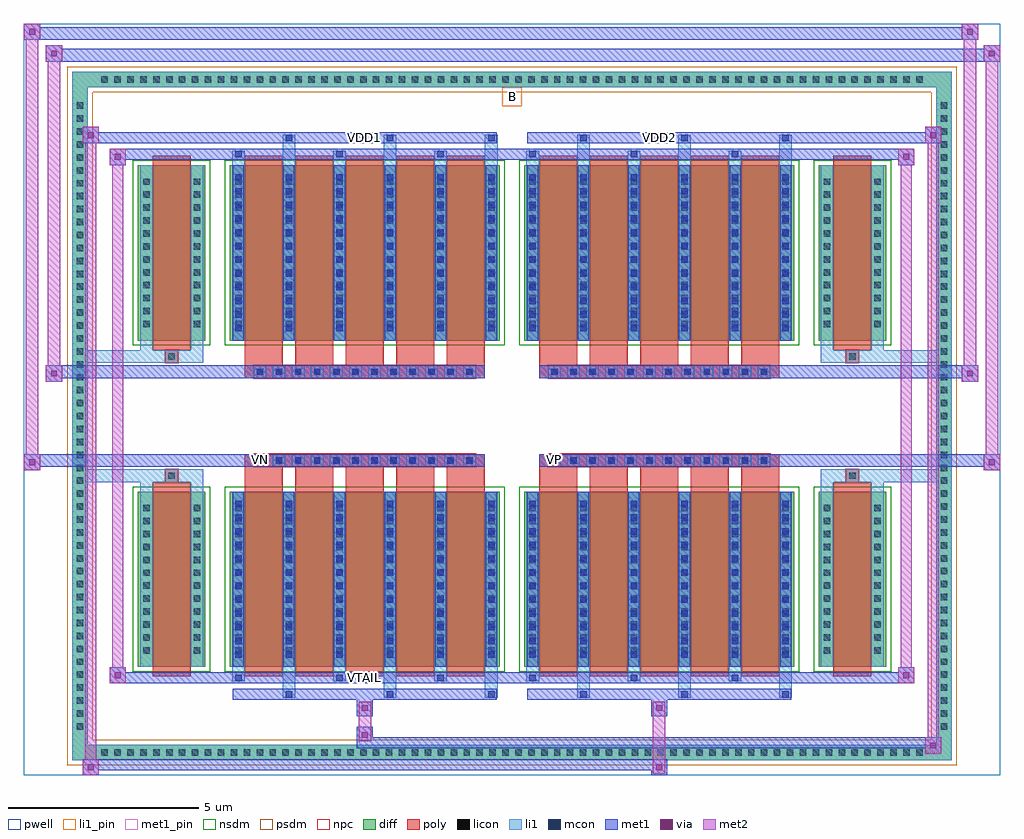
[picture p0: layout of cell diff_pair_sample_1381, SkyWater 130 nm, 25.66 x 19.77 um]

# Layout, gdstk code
import gdstk
lib = gdstk.Library(unit=1e-6, precision=5e-09)
def R(c, l, rs):  # rectangles x0, y0, x1, y1
    for r in rs: c.add(gdstk.rectangle(r[:2], r[2:], *l))
def A(c, l, x, y, w, h, nx, ny, dx, dy):  # array of equal rectangles
    R(c, l, [(x+i*dx, y+j*dy, x+i*dx+w, y+j*dy+h) for i in range(nx) for j in range(ny)])
def P(c, l, *ps):  # polygons
    for p in ps: c.add(gdstk.Polygon(p, *l))
pwell = (64, 44)
diff = (65, 20)
poly = (66, 20)
licon = (66, 44)
li1_pin = (67, 16)
li1 = (67, 20)
mcon = (67, 44)
met1_pin = (68, 16)
met1 = (68, 20)
via = (68, 44)
met2 = (69, 20)
nsdm = (93, 44)
psdm = (94, 20)
npc = (95, 20)

diff_pair_sample_1381 = lib.new_cell('diff_pair_sample_1381')
R(diff_pair_sample_1381, pwell, [(-12.83,-9.45,12.83,10.32), (-10.15,-7.64,-0.01,-0.8), (0.01,-7.64,10.15,-0.8), (-10.15,0.8,-0.01,7.64), (0.01,0.8,10.15,7.64)])
A(diff_pair_sample_1381, diff, -10.915, -9.05, 0.41, 0.41, 64, 2, 0.34, 17.69)
A(diff_pair_sample_1381, diff, -11.56, -8.365, 0.41, 0.41, 1, 49, 0, 0.34)
A(diff_pair_sample_1381, diff, 11.15, -8.365, 0.41, 0.41, 1, 49, 0, 0.34)
R(diff_pair_sample_1381, diff, [(-10.915,-9.05,10.915,-8.64), (-11.56,-8.365,-11.15,8.365), (11.15,-8.365,11.56,8.365), (-9.84,-6.595,-8.06,-1.985), (-7.42,-6.595,-0.32,-1.985), (0.32,-6.595,7.42,-1.985), (8.06,-6.595,9.84,-1.985), (-9.84,1.985,-8.06,6.595), (-7.42,1.985,-0.32,6.595), (0.32,1.985,7.42,6.595), (8.06,1.985,9.84,6.595), (-10.915,8.64,10.915,9.05)])
P(diff_pair_sample_1381, diff, [(11.56,9.05),(-11.56,9.05),(-11.56,-8.64),(-11.15,-8.64),(-11.15,8.64),(11.15,8.64),(11.15,-8.64),(-11.15,-8.64),(-11.56,-8.64),(-11.56,-9.05),(11.56,-9.05)])
A(diff_pair_sample_1381, poly, -7.03, -6.845, 1, 5.11, 5, 2, 1.33, 8.58)
A(diff_pair_sample_1381, poly, 0.71, -6.845, 1, 5.11, 5, 2, 1.33, 8.58)
A(diff_pair_sample_1381, poly, -7.03, -1.735, 1, 0.405, 5, 2, 1.33, 3.065)
A(diff_pair_sample_1381, poly, 0.71, -1.735, 1, 0.405, 5, 2, 1.33, 3.065)
A(diff_pair_sample_1381, poly, -6.785, -1.33, 0.33, 0.33, 12, 2, 0.5, 2.33)
A(diff_pair_sample_1381, poly, 0.955, -1.33, 0.33, 0.33, 12, 2, 0.5, 2.33)
R(diff_pair_sample_1381, poly, [(-9.45,-6.845,-8.45,-1.735), (8.45,-6.845,9.45,-1.735), (-9.115,-1.735,-8.785,-1.405), (-9.115,-1.735,-8.785,-1.405), (8.785,-1.735,9.115,-1.405), (8.785,-1.735,9.115,-1.405), (-7.03,-1.33,-0.71,-1), (0.71,-1.33,7.03,-1), (-7.03,1,-0.71,1.33), (0.71,1,7.03,1.33), (-9.115,1.405,-8.785,1.735), (-9.115,1.405,-8.785,1.735), (8.785,1.405,9.115,1.735), (8.785,1.405,9.115,1.735), (-9.45,1.735,-8.45,6.845), (8.45,1.735,9.45,6.845)])
A(diff_pair_sample_1381, licon, -10.795, -8.93, 0.17, 0.17, 64, 2, 0.34, 17.69)
A(diff_pair_sample_1381, licon, -11.44, -8.245, 0.17, 0.17, 1, 49, 0, 0.34)
A(diff_pair_sample_1381, licon, 11.27, -8.245, 0.17, 0.17, 1, 49, 0, 0.34)
A(diff_pair_sample_1381, licon, -9.7, -6.245, 0.17, 0.17, 1, 12, 0, 0.34)
A(diff_pair_sample_1381, licon, -8.37, -6.245, 0.17, 0.17, 1, 12, 0, 0.34)
A(diff_pair_sample_1381, licon, -7.28, -6.245, 0.17, 0.17, 6, 12, 1.33, 0.34)
A(diff_pair_sample_1381, licon, 0.46, -6.245, 0.17, 0.17, 6, 12, 1.33, 0.34)
A(diff_pair_sample_1381, licon, 8.2, -6.245, 0.17, 0.17, 1, 12, 0, 0.34)
A(diff_pair_sample_1381, licon, 9.53, -6.245, 0.17, 0.17, 1, 12, 0, 0.34)
A(diff_pair_sample_1381, licon, -6.705, -1.25, 0.17, 0.17, 12, 2, 0.5, 2.33)
A(diff_pair_sample_1381, licon, 1.035, -1.25, 0.17, 0.17, 12, 2, 0.5, 2.33)
A(diff_pair_sample_1381, licon, -9.7, 2.335, 0.17, 0.17, 1, 12, 0, 0.34)
A(diff_pair_sample_1381, licon, -8.37, 2.335, 0.17, 0.17, 1, 12, 0, 0.34)
A(diff_pair_sample_1381, licon, -7.28, 2.335, 0.17, 0.17, 6, 12, 1.33, 0.34)
A(diff_pair_sample_1381, licon, 0.46, 2.335, 0.17, 0.17, 6, 12, 1.33, 0.34)
A(diff_pair_sample_1381, licon, 8.2, 2.335, 0.17, 0.17, 1, 12, 0, 0.34)
A(diff_pair_sample_1381, licon, 9.53, 2.335, 0.17, 0.17, 1, 12, 0, 0.34)
R(diff_pair_sample_1381, licon, [(-9.035,-1.655,-8.865,-1.485), (8.865,-1.655,9.035,-1.485), (-9.035,1.485,-8.865,1.655), (8.865,1.485,9.035,1.655)])
R(diff_pair_sample_1381, li1_pin, [(-0.25,8.14,0.25,8.64)])
A(diff_pair_sample_1381, li1, -10.875, -9.01, 0.33, 0.33, 64, 2, 0.34, 17.69)
A(diff_pair_sample_1381, li1, -11.52, -8.325, 0.33, 0.33, 1, 49, 0, 0.34)
A(diff_pair_sample_1381, li1, 11.19, -8.325, 0.33, 0.33, 1, 49, 0, 0.34)
A(diff_pair_sample_1381, li1, -6.03, -7.4, 0.33, 0.805, 3, 2, 2.66, 13.995)
A(diff_pair_sample_1381, li1, -5.95, -7.4, 0.17, 0.17, 3, 2, 2.66, 14.63)
A(diff_pair_sample_1381, li1, 1.71, -7.4, 0.33, 0.805, 3, 2, 2.66, 13.995)
A(diff_pair_sample_1381, li1, 1.79, -7.4, 0.17, 0.17, 3, 2, 2.66, 14.63)
A(diff_pair_sample_1381, li1, -7.36, -6.97, 0.33, 0.375, 3, 2, 2.66, 13.565)
A(diff_pair_sample_1381, li1, -7.28, -6.97, 0.17, 0.17, 3, 2, 2.66, 13.77)
A(diff_pair_sample_1381, li1, 0.38, -6.97, 0.33, 0.375, 3, 2, 2.66, 13.565)
A(diff_pair_sample_1381, li1, 0.46, -6.97, 0.17, 0.17, 3, 2, 2.66, 13.77)
A(diff_pair_sample_1381, li1, -7.36, -6.595, 0.33, 4.61, 6, 2, 1.33, 8.58)
A(diff_pair_sample_1381, li1, 0.38, -6.595, 0.33, 4.61, 6, 2, 1.33, 8.58)
A(diff_pair_sample_1381, li1, -7.28, -6.355, 0.17, 0.17, 6, 12, 1.33, 0.36)
A(diff_pair_sample_1381, li1, -7.28, -6.355, 0.17, 4.13, 6, 2, 1.33, 8.58)
A(diff_pair_sample_1381, li1, 0.46, -6.355, 0.17, 0.17, 6, 12, 1.33, 0.36)
A(diff_pair_sample_1381, li1, 0.46, -6.355, 0.17, 4.13, 6, 2, 1.33, 8.58)
A(diff_pair_sample_1381, li1, -9.78, -6.325, 0.33, 0.33, 1, 12, 0, 0.34)
A(diff_pair_sample_1381, li1, -8.45, -6.325, 0.33, 0.33, 1, 12, 0, 0.34)
A(diff_pair_sample_1381, li1, -7.36, -6.325, 0.33, 0.33, 6, 12, 1.33, 0.34)
A(diff_pair_sample_1381, li1, 0.38, -6.325, 0.33, 0.33, 6, 12, 1.33, 0.34)
A(diff_pair_sample_1381, li1, 8.12, -6.325, 0.33, 0.33, 1, 12, 0, 0.34)
A(diff_pair_sample_1381, li1, 9.45, -6.325, 0.33, 0.33, 1, 12, 0, 0.34)
A(diff_pair_sample_1381, li1, -6.785, -1.33, 0.33, 0.33, 12, 2, 0.5, 2.33)
A(diff_pair_sample_1381, li1, 0.955, -1.33, 0.33, 0.33, 12, 2, 0.5, 2.33)
A(diff_pair_sample_1381, li1, -7.28, 2.225, 0.17, 0.17, 6, 12, 1.33, 0.36)
A(diff_pair_sample_1381, li1, 0.46, 2.225, 0.17, 0.17, 6, 12, 1.33, 0.36)
A(diff_pair_sample_1381, li1, -9.78, 2.255, 0.33, 0.33, 1, 12, 0, 0.34)
A(diff_pair_sample_1381, li1, -8.45, 2.255, 0.33, 0.33, 1, 12, 0, 0.34)
A(diff_pair_sample_1381, li1, -7.36, 2.255, 0.33, 0.33, 6, 12, 1.33, 0.34)
A(diff_pair_sample_1381, li1, 0.38, 2.255, 0.33, 0.33, 6, 12, 1.33, 0.34)
A(diff_pair_sample_1381, li1, 8.12, 2.255, 0.33, 0.33, 1, 12, 0, 0.34)
A(diff_pair_sample_1381, li1, 9.45, 2.255, 0.33, 0.33, 1, 12, 0, 0.34)
R(diff_pair_sample_1381, li1, [(-11.56,-9.05,-11.15,-8.64), (-11.56,-9.05,-11.15,-8.64), (-11.15,-9.05,11.15,-8.64), (11.15,-9.05,11.56,-8.64), (11.15,-9.05,11.56,-8.64), (-11.56,-8.64,-11.15,8.64), (11.15,-8.64,11.56,8.64), (-9.78,-6.595,-9.45,-1.985), (-8.45,-6.595,-8.12,-1.985), (8.12,-6.595,8.45,-1.985), (9.45,-6.595,9.78,-1.985), (-9.78,-1.985,-9.45,-1.405), (-8.45,-1.985,-8.12,-1.405), (8.12,-1.985,8.45,-1.405), (9.45,-1.985,9.78,-1.405), (-11.56,-1.735,-9.115,-1.405), (-9.78,-1.735,-9.115,-1.405), (-9.115,-1.735,-8.785,-1.405), (-8.785,-1.735,-8.12,-1.405), (8.12,-1.735,8.785,-1.405), (8.785,-1.735,9.115,-1.405), (8.785,-1.735,11.56,-1.405), (9.115,-1.735,9.78,-1.405), (-11.56,1.405,-9.115,1.735), (-9.78,1.405,-9.115,1.735), (-9.78,1.405,-9.45,1.985), (-9.115,1.405,-8.785,1.735), (-8.785,1.405,-8.12,1.735), (-8.45,1.405,-8.12,1.985), (8.12,1.405,8.785,1.735), (8.12,1.405,8.45,1.985), (8.785,1.405,9.115,1.735), (8.785,1.405,11.56,1.735), (9.115,1.405,9.78,1.735), (9.45,1.405,9.78,1.985), (-9.78,1.985,-9.45,6.595), (-8.45,1.985,-8.12,6.595), (8.12,1.985,8.45,6.595), (9.45,1.985,9.78,6.595), (-11.56,8.64,-11.15,9.05), (-11.56,8.64,-11.15,9.05), (-11.15,8.64,11.15,9.05), (11.15,8.64,11.56,9.05), (11.15,8.64,11.56,9.05)])
A(diff_pair_sample_1381, mcon, -5.95, -7.4, 0.17, 0.17, 3, 2, 2.66, 14.63)
A(diff_pair_sample_1381, mcon, 1.79, -7.4, 0.17, 0.17, 3, 2, 2.66, 14.63)
A(diff_pair_sample_1381, mcon, -7.28, -6.97, 0.17, 0.17, 3, 2, 2.66, 13.77)
A(diff_pair_sample_1381, mcon, 0.46, -6.97, 0.17, 0.17, 3, 2, 2.66, 13.77)
A(diff_pair_sample_1381, mcon, -7.28, -6.355, 0.17, 0.17, 6, 12, 1.33, 0.36)
A(diff_pair_sample_1381, mcon, 0.46, -6.355, 0.17, 0.17, 6, 12, 1.33, 0.36)
A(diff_pair_sample_1381, mcon, -6.705, -1.25, 0.17, 0.17, 12, 2, 0.5, 2.33)
A(diff_pair_sample_1381, mcon, 1.035, -1.25, 0.17, 0.17, 12, 2, 0.5, 2.33)
A(diff_pair_sample_1381, mcon, -7.28, 2.225, 0.17, 0.17, 6, 12, 1.33, 0.36)
A(diff_pair_sample_1381, mcon, 0.46, 2.225, 0.17, 0.17, 6, 12, 1.33, 0.36)
R(diff_pair_sample_1381, met1_pin, [(-4.005,-7.01,-3.735,-6.74), (-6.755,-1.29,-6.485,-1.02), (0.985,-1.29,1.255,-1.02), (-4.005,7.19,-3.735,7.46), (3.735,7.19,4.005,7.46)])
A(diff_pair_sample_1381, met1, -6.01, -7.46, 0.29, 0.29, 3, 2, 2.66, 14.63)
A(diff_pair_sample_1381, met1, 1.73, -7.46, 0.29, 0.29, 3, 2, 2.66, 14.63)
A(diff_pair_sample_1381, met1, -7.34, -7.03, 0.29, 0.29, 3, 2, 2.66, 13.77)
A(diff_pair_sample_1381, met1, 0.4, -7.03, 0.29, 0.29, 3, 2, 2.66, 13.77)
A(diff_pair_sample_1381, met1, -7.34, -6.595, 0.29, 4.61, 6, 2, 1.33, 8.58)
A(diff_pair_sample_1381, met1, 0.4, -6.595, 0.29, 4.61, 6, 2, 1.33, 8.58)
A(diff_pair_sample_1381, met1, -7.34, -6.415, 0.29, 0.29, 6, 12, 1.33, 0.36)
A(diff_pair_sample_1381, met1, 0.4, -6.415, 0.29, 0.29, 6, 12, 1.33, 0.36)
A(diff_pair_sample_1381, met1, -6.765, -1.31, 0.29, 0.29, 12, 2, 0.5, 2.33)
A(diff_pair_sample_1381, met1, 0.975, -1.31, 0.29, 0.29, 12, 2, 0.5, 2.33)
A(diff_pair_sample_1381, met1, -7.34, 2.165, 0.29, 0.29, 6, 12, 1.33, 0.36)
A(diff_pair_sample_1381, met1, 0.4, 2.165, 0.29, 0.29, 6, 12, 1.33, 0.36)
R(diff_pair_sample_1381, met1, [(-11.29,-9.45,-10.86,-9.02), (3.655,-9.45,4.085,-9.02), (-11.29,-9.31,4.085,-9.02), (10.86,-8.88,11.29,-8.45), (-4.085,-8.74,11.29,-8.45), (-4.085,-8.6,-3.655,-8.17), (-4.085,-7.89,-3.655,-7.46), (3.655,-7.89,4.085,-7.46), (-7.34,-7.46,-0.4,-7.17), (0.4,-7.46,7.34,-7.17), (-10.58,-7.03,-10.15,-6.6), (-10.58,-7.03,-7.34,-6.74), (-7.34,-7.03,-0.4,-6.74), (-0.4,-7.03,0.4,-6.74), (0.4,-7.03,7.34,-6.74), (7.34,-7.03,10.58,-6.74), (10.15,-7.03,10.58,-6.6), (-12.83,-1.43,-12.4,-1), (12.4,-1.43,12.83,-1), (-12.83,-1.33,-0.71,-1), (-7.03,-1.33,-0.71,-1), (0.71,-1.33,7.03,-1), (0.71,-1.33,12.83,-1), (-12.26,0.9,-11.83,1.33), (11.83,0.9,12.26,1.33), (-12.26,1,-7.03,1.33), (-7.03,1,-0.71,1.33), (0.71,1,7.03,1.33), (7.03,1,12.26,1.33), (-10.58,6.6,-10.15,7.03), (10.15,6.6,10.58,7.03), (-10.58,6.74,-7.34,7.03), (-7.34,6.74,-0.4,7.03), (-0.4,6.74,0.4,7.03), (0.4,6.74,7.34,7.03), (7.34,6.74,10.58,7.03), (-11.29,7.17,-10.86,7.6), (-11.29,7.17,-7.34,7.46), (-7.34,7.17,-0.4,7.46), (0.4,7.17,7.34,7.46), (7.34,7.17,11.29,7.46), (10.86,7.17,11.29,7.6), (-12.26,9.32,-11.83,9.75), (-12.26,9.32,-10.15,9.65), (-10.15,9.32,10.15,9.65), (10.15,9.32,12.83,9.65), (12.4,9.32,12.83,9.75), (-12.83,9.89,-12.4,10.32), (-12.83,9.89,-10.15,10.22), (-10.15,9.89,10.15,10.22), (10.15,9.89,12.26,10.22), (11.83,9.89,12.26,10.32)])
R(diff_pair_sample_1381, via, [(-11.15,-9.31,-11,-9.16), (3.795,-9.31,3.945,-9.16), (11,-8.74,11.15,-8.59), (-3.945,-8.46,-3.795,-8.31), (-3.945,-7.75,-3.795,-7.6), (3.795,-7.75,3.945,-7.6), (-10.44,-6.89,-10.29,-6.74), (10.29,-6.89,10.44,-6.74), (-12.69,-1.29,-12.54,-1.14), (12.54,-1.29,12.69,-1.14), (-12.12,1.04,-11.97,1.19), (11.97,1.04,12.12,1.19), (-10.44,6.74,-10.29,6.89), (10.29,6.74,10.44,6.89), (-11.15,7.31,-11,7.46), (11,7.31,11.15,7.46), (-12.12,9.46,-11.97,9.61), (12.54,9.46,12.69,9.61), (-12.69,10.03,-12.54,10.18), (11.97,10.03,12.12,10.18)])
R(diff_pair_sample_1381, met2, [(-11.29,-9.45,-10.86,-9.02), (-11.22,-9.45,-10.93,7.6), (-10.93,-9.45,-10.86,-9.02), (-11.24,-9.4,-10.91,-9.07), (3.705,-9.4,4.035,-9.07), (3.705,-9.07,4.035,-7.84), (10.86,-8.88,11.29,-8.45), (10.93,-8.88,11.22,7.6), (11.22,-8.88,11.29,-8.45), (10.91,-8.83,11.24,-8.5), (-4.035,-8.55,-3.705,-8.22), (-4.035,-8.22,-3.705,-7.84), (-4.035,-7.84,-3.705,-7.51), (3.705,-7.84,4.035,-7.51), (-10.58,-7.03,-10.15,-6.6), (-10.51,-7.03,-10.22,7.03), (-10.22,-7.03,-10.15,-6.6), (10.15,-7.03,10.58,-6.6), (10.22,-7.03,10.51,7.03), (10.51,-7.03,10.58,-6.6), (-10.53,-6.98,-10.2,-6.65), (10.2,-6.98,10.53,-6.65), (-12.83,-1.43,-12.4,-1), (-12.78,-1.43,-12.45,10.32), (-12.45,-1.43,-12.4,-1), (12.4,-1.43,12.83,-1), (12.45,-1.43,12.78,9.75), (12.78,-1.43,12.83,-1), (-12.78,-1.38,-12.45,-1.05), (12.45,-1.38,12.78,-1.05), (-12.26,0.9,-11.83,1.33), (-12.21,0.9,-11.88,9.75), (-11.88,0.9,-11.83,1.33), (11.83,0.9,12.26,1.33), (11.88,0.9,12.21,10.32), (12.21,0.9,12.26,1.33), (-12.21,0.95,-11.88,1.28), (11.88,0.95,12.21,1.28), (-10.58,6.6,-10.15,7.03), (-10.22,6.6,-10.15,7.03), (10.15,6.6,10.58,7.03), (10.51,6.6,10.58,7.03), (-10.53,6.65,-10.2,6.98), (10.2,6.65,10.53,6.98), (-11.29,7.17,-10.86,7.6), (-10.93,7.17,-10.86,7.6), (10.86,7.17,11.29,7.6), (11.22,7.17,11.29,7.6), (-11.24,7.22,-10.91,7.55), (10.91,7.22,11.24,7.55), (-12.26,9.32,-11.83,9.75), (-11.88,9.32,-11.83,9.75), (12.4,9.32,12.83,9.75), (12.78,9.32,12.83,9.75), (-12.21,9.37,-11.88,9.7), (12.45,9.37,12.78,9.7), (-12.83,9.89,-12.4,10.32), (-12.45,9.89,-12.4,10.32), (11.83,9.89,12.26,10.32), (12.21,9.89,12.26,10.32), (-12.78,9.94,-12.45,10.27), (11.88,9.94,12.21,10.27)])
R(diff_pair_sample_1381, nsdm, [(-9.97,-6.725,-7.93,-1.855), (-7.55,-6.725,-0.19,-1.855), (0.19,-6.725,7.55,-1.855), (7.93,-6.725,9.97,-1.855), (-9.97,1.855,-7.93,6.725), (-7.55,1.855,-0.19,6.725), (0.19,1.855,7.55,6.725), (7.93,1.855,9.97,6.725)])
P(diff_pair_sample_1381, psdm, [(11.69,9.18),(-11.69,9.18),(-11.69,-8.51),(-11.02,-8.51),(-11.02,8.51),(11.02,8.51),(11.02,-8.51),(-11.02,-8.51),(-11.69,-8.51),(-11.69,-9.18),(11.69,-9.18)])
A(diff_pair_sample_1381, npc, -6.805, -1.35, 0.37, 0.37, 12, 2, 0.5, 2.33)
A(diff_pair_sample_1381, npc, 0.935, -1.35, 0.37, 0.37, 12, 2, 0.5, 2.33)
R(diff_pair_sample_1381, npc, [(-9.135,-1.755,-8.765,-1.385), (8.765,-1.755,9.135,-1.385), (-6.805,-1.35,-5.935,-0.98), (-6.805,-1.35,-5.935,-0.98), (-6.305,-1.35,-5.435,-0.98), (-6.305,-1.35,-5.435,-0.98), (-5.805,-1.35,-4.935,-0.98), (-5.805,-1.35,-4.935,-0.98), (-5.305,-1.35,-4.435,-0.98), (-5.305,-1.35,-4.435,-0.98), (-4.805,-1.35,-3.935,-0.98), (-4.805,-1.35,-3.935,-0.98), (-4.305,-1.35,-3.435,-0.98), (-4.305,-1.35,-3.435,-0.98), (-3.805,-1.35,-2.935,-0.98), (-3.805,-1.35,-2.935,-0.98), (-3.305,-1.35,-2.435,-0.98), (-3.305,-1.35,-2.435,-0.98), (-2.805,-1.35,-1.935,-0.98), (-2.805,-1.35,-1.935,-0.98), (-2.305,-1.35,-1.435,-0.98), (-2.305,-1.35,-1.435,-0.98), (-1.805,-1.35,-0.935,-0.98), (-1.805,-1.35,-0.935,-0.98), (0.935,-1.35,1.805,-0.98), (0.935,-1.35,1.805,-0.98), (1.435,-1.35,2.305,-0.98), (1.435,-1.35,2.305,-0.98), (1.935,-1.35,2.805,-0.98), (1.935,-1.35,2.805,-0.98), (2.435,-1.35,3.305,-0.98), (2.435,-1.35,3.305,-0.98), (2.935,-1.35,3.805,-0.98), (2.935,-1.35,3.805,-0.98), (3.435,-1.35,4.305,-0.98), (3.435,-1.35,4.305,-0.98), (3.935,-1.35,4.805,-0.98), (3.935,-1.35,4.805,-0.98), (4.435,-1.35,5.305,-0.98), (4.435,-1.35,5.305,-0.98), (4.935,-1.35,5.805,-0.98), (4.935,-1.35,5.805,-0.98), (5.435,-1.35,6.305,-0.98), (5.435,-1.35,6.305,-0.98), (5.935,-1.35,6.805,-0.98), (5.935,-1.35,6.805,-0.98), (-6.805,0.98,-5.935,1.35), (-6.805,0.98,-5.935,1.35), (-6.305,0.98,-5.435,1.35), (-6.305,0.98,-5.435,1.35), (-5.805,0.98,-4.935,1.35), (-5.805,0.98,-4.935,1.35), (-5.305,0.98,-4.435,1.35), (-5.305,0.98,-4.435,1.35), (-4.805,0.98,-3.935,1.35), (-4.805,0.98,-3.935,1.35), (-4.305,0.98,-3.435,1.35), (-4.305,0.98,-3.435,1.35), (-3.805,0.98,-2.935,1.35), (-3.805,0.98,-2.935,1.35), (-3.305,0.98,-2.435,1.35), (-3.305,0.98,-2.435,1.35), (-2.805,0.98,-1.935,1.35), (-2.805,0.98,-1.935,1.35), (-2.305,0.98,-1.435,1.35), (-2.305,0.98,-1.435,1.35), (-1.805,0.98,-0.935,1.35), (-1.805,0.98,-0.935,1.35), (0.935,0.98,1.805,1.35), (0.935,0.98,1.805,1.35), (1.435,0.98,2.305,1.35), (1.435,0.98,2.305,1.35), (1.935,0.98,2.805,1.35), (1.935,0.98,2.805,1.35), (2.435,0.98,3.305,1.35), (2.435,0.98,3.305,1.35), (2.935,0.98,3.805,1.35), (2.935,0.98,3.805,1.35), (3.435,0.98,4.305,1.35), (3.435,0.98,4.305,1.35), (3.935,0.98,4.805,1.35), (3.935,0.98,4.805,1.35), (4.435,0.98,5.305,1.35), (4.435,0.98,5.305,1.35), (4.935,0.98,5.805,1.35), (4.935,0.98,5.805,1.35), (5.435,0.98,6.305,1.35), (5.435,0.98,6.305,1.35), (5.935,0.98,6.805,1.35), (5.935,0.98,6.805,1.35), (-9.135,1.385,-8.765,1.755), (8.765,1.385,9.135,1.755)])
diff_pair_sample_1381.add(gdstk.Label('VTAIL', (-3.87,-6.875), layer=68, texttype=5))
diff_pair_sample_1381.add(gdstk.Label('VN', (-6.62,-1.155), layer=68, texttype=5))
diff_pair_sample_1381.add(gdstk.Label('VP', (1.12,-1.155), layer=68, texttype=5))
diff_pair_sample_1381.add(gdstk.Label('B', (0,8.39), layer=67, texttype=5))
diff_pair_sample_1381.add(gdstk.Label('VDD2', (3.87,7.325), layer=68, texttype=5))
diff_pair_sample_1381.add(gdstk.Label('VDD1', (-3.87,7.325), layer=68, texttype=5))

lib.write_gds('diff_pair_sample_1381.gds')
